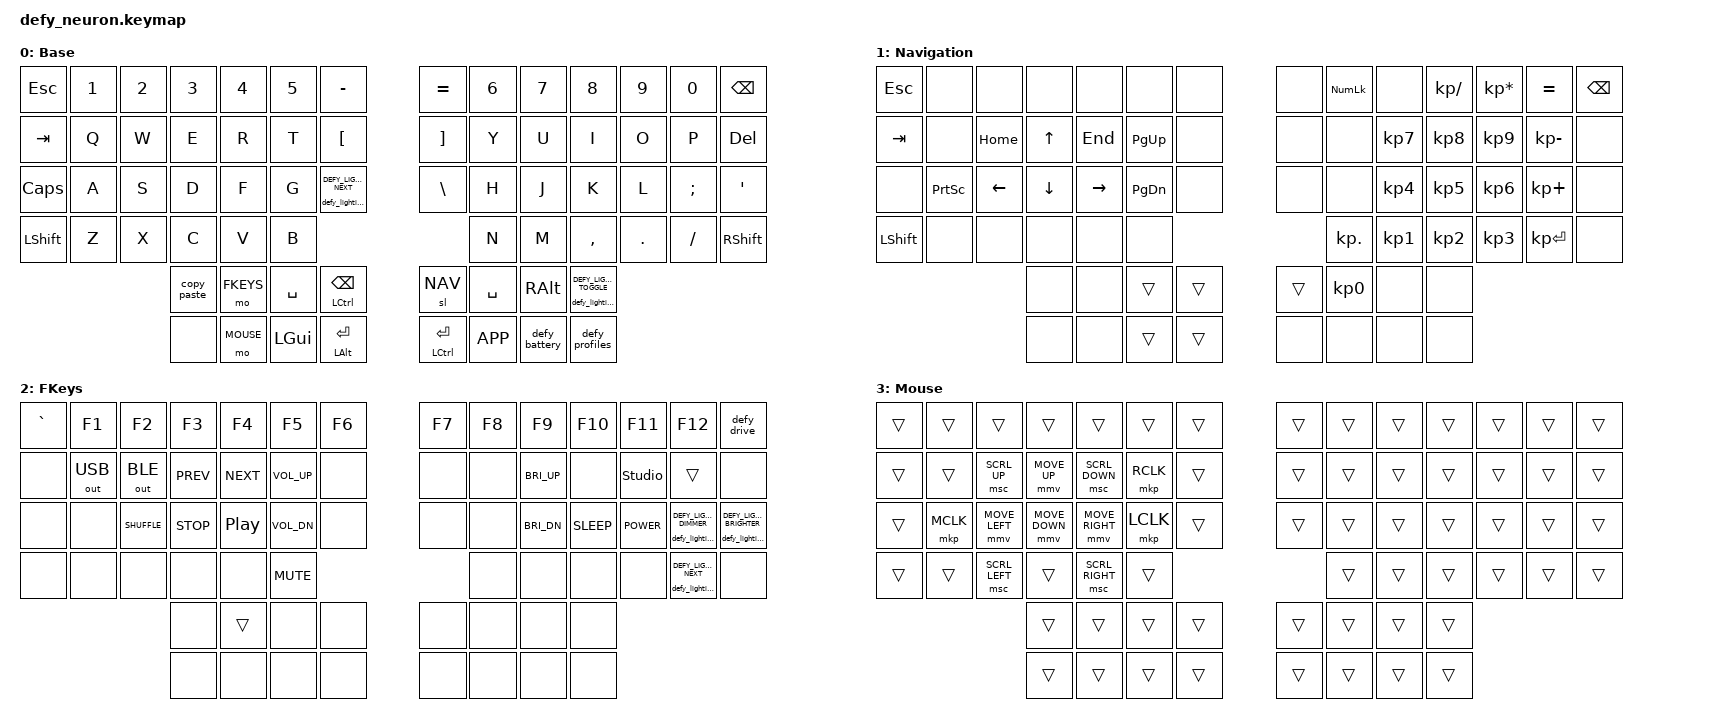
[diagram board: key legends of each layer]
/*
 * The Defy's keymap, on the Neuron. ZMK finds this file by the board's name.
 *
 * Base, Navigation and FKeys follow Dygma's default layout, as Bazecor sets
 * it up, with this port's controls on keys that layout leaves empty. Mouse is
 * new. Each comment marked DEMO shows something to try and change; the rest
 * of ZMK's behaviours are at https://zmk.dev/docs/keymaps.
 *
 * SPDX-License-Identifier: MIT
 */

#include <behaviors.dtsi>
#include <behaviors/defy.dtsi>
#include <dt-bindings/dygma/defy_lighting.h>
#include <dt-bindings/zmk/keys.h>
#include <dt-bindings/zmk/outputs.h>
#include <dt-bindings/zmk/pointing.h>

/* The layers' numbers, for &mo, &sl and the lighting blocks below. */
#define BASE 0
#define NAV 1
#define FKEYS 2
#define MOUSE 3

/*
 * DEMO: a tap-dance with hold-taps, Dygma's copy key on the left upper outer
 * thumb. Tap it for Ctrl+C, hold it for Ctrl+V, tap it twice for Ctrl+X, or
 * tap it and then hold it for Ctrl+Shift+V. On a Mac, change LC to LG for
 * Cmd. The tap-dance hands the first press to copy_hold only once it has
 * waited 200 ms for a second, so copy_hold's own 50 ms make a hold 250 ms in
 * all, as on the second press. https://zmk.dev/docs/keymaps/behaviors/tap-dance
 */
/ {
    behaviors {
        copy_hold: copy_hold {
            compatible = "zmk,behavior-hold-tap";
            #binding-cells = <2>;
            display-name = "Copy key hold";
            tapping-term-ms = <50>;
            flavor = "tap-preferred";
            bindings = <&kp>, <&kp>;
        };

        cut_hold: cut_hold {
            compatible = "zmk,behavior-hold-tap";
            #binding-cells = <2>;
            display-name = "Cut key hold";
            tapping-term-ms = <250>;
            flavor = "tap-preferred";
            bindings = <&kp>, <&kp>;
        };

        copy_paste: copy_paste {
            compatible = "zmk,behavior-tap-dance";
            #binding-cells = <0>;
            display-name = "Copy / paste";
            tapping-term-ms = <200>;
            bindings = <&copy_hold LC(V) LC(C)>, <&cut_hold LC(LS(V)) LC(X)>;
        };
    };
};

/*
 * DEMO: hold-tap timing. The thumb keys that are Ctrl or Alt when held and
 * Backspace or Enter when tapped are &mt, ZMK's mod-tap. Here a key counts
 * as held after 250 ms, as in Dygma's layout, or as soon as another key is
 * pressed and released while it is down. A tap and then a hold repeats the
 * tap, so Backspace can repeat. https://zmk.dev/docs/keymaps/behaviors/hold-tap
 */
&mt {
    tapping-term-ms = <250>;
    flavor = "balanced";
    quick-tap-ms = <200>;
};

/*
 * DEMO: mouse keys, which CONFIG_ZMK_POINTING in defy_neuron.conf turns on.
 * Hold the left lower thumb key second from the outside for Mouse: E, S, D
 * and F move the pointer, W and R scroll up and down, X and V scroll
 * sideways, and G, T and A click left, right and middle. A computer paired
 * over Bluetooth before mouse keys were on must pair again to use them.
 * https://zmk.dev/docs/keymaps/behaviors/mouse-emulation
 *
 * Bluetooth: the right lower outer thumb key opens the profile chooser, to
 * pair, choose and clear up to ten computers. FKeys with Q or W chooses USB or
 * Bluetooth when both are connected. The right lower thumb key second from
 * the outside shows the halves' batteries.
 *
 * DEMO: ZMK Studio changes the keymap on the keyboard, without a build. The
 * left lower outer thumb key does nothing, so that you can bind it there.
 * Unlock Studio with FKeys and O. https://zmk.studio
 */

/*
 * LIGHTING
 *
 * The key right of G shows the next look, and the right upper outer thumb key
 * turns the lighting on and off. Hold FKeys, the left upper thumb key second
 * from the outside, and press ; for dimmer or ' for brighter, in 12 steps
 * from 4 to 255, or / for the next look. The Neuron remembers the look and the
 * brightness.
 *
 * DEMO: the three blocks below set the colours. After an edit, push it and
 * wait for the build, then run defy-installer update, or copy
 * neuron-hybrid.uf2 onto the DEFY drive. The halves need nothing.
 *
 * Colours, at full strength; the brightness scales them:
 *
 *    DEFY_OFF  DEFY_WHITE  DEFY_WARM_WHITE  DEFY_RED  DEFY_ORANGE  DEFY_YELLOW
 *    DEFY_GREEN  DEFY_CYAN  DEFY_BLUE  DEFY_PURPLE  DEFY_PINK
 *    DEFY_RGB(255, 120, 0)    any other colour: red, green and blue, 0 to 255
 *    0xFF7800                 the same colour as a hex number
 *
 * Every LED has a white LED beside its red, green and blue ones. The part of a
 * colour common to all three lights the white one, so DEFY_WHITE lights the
 * white LEDs alone.
 *
 * Which colours show: the highest layer that is on and has colours in block 2
 * or 3 decides. Its single-key colours from block 3 go over its keys colour
 * from block 2. With no such layer on, the look shows. The lighting key turns
 * everything off.
 *
 * 1. Looks: a colour for the keys and one for the underglow. The lighting
 *    starts with the first look, and the next-look keys step through the
 *    rest. A colour left out is off. Without looks here the Neuron has four:
 *    white keys, warm white keys, white keys and underglow, and white
 *    underglow alone. To use your own, remove the // marks:
 */
// &defy_lighting {
//     brightness = <24>;                       /* at first, 1 to 255 */
//     plain { keys = <DEFY_WHITE>; };
//     warm { keys = <DEFY_WARM_WHITE>; underglow = <DEFY_WARM_WHITE>; };
//     night { underglow = <DEFY_PURPLE>; };
// };

/*
 * 2. Layer colours: a layer shows its own key and underglow colours while it
 *    is on. A colour left out comes from the look. Here Navigation, FKeys and
 *    Mouse turn their keys off, so that only the keys block 3 colours light,
 *    and each has an underglow colour of its own.
 */
&defy_layer_lighting {
    navigation { layer = <NAV>; keys = <DEFY_OFF>; underglow = <DEFY_GREEN>; };
    fkeys { layer = <FKEYS>; keys = <DEFY_OFF>; underglow = <DEFY_PURPLE>; };
    mouse { layer = <MOUSE>; keys = <DEFY_OFF>; underglow = <DEFY_BLUE>; };
};

/*
 * 3. Key colours: single keys of a layer in a colour of their own, over the
 *    layer's key colour. Up to 16 groups; a key in two groups takes the later
 *    one's colour.
 *
 *    key-positions numbers the keys as in the first grid: the left half, then
 *    the right, with the thumb keys in the last two rows. The second grid
 *    shows the same keys on the Base layer, where LED is the next look, Cpy
 *    the copy key, FK holds FKeys, Nav is Navigation for one key, Mse holds
 *    Mouse, C/B is Ctrl or Backspace, A/E Alt or Enter, C/E Ctrl or Enter,
 *    AGr right Alt, Lgt the lighting key, Mnu the menu key, Bat the battery
 *    display, BT the profile chooser and Stu the free key, for ZMK Studio.
 *
 *      0   1   2   3   4   5   6      7   8   9  10  11  12  13
 *     14  15  16  17  18  19  20     21  22  23  24  25  26  27
 *     28  29  30  31  32  33  34     35  36  37  38  39  40  41
 *     42  43  44  45  46  47             48  49  50  51  52  53
 *                 54  55  56  57     58  59  60  61
 *                 62  63  64  65     66  67  68  69
 *
 *    Esc   1   2   3   4   5   -      =   6   7   8   9   0 Bks
 *    Tab   Q   W   E   R   T   [      ]   Y   U   I   O   P Del
 *    Cap   A   S   D   F   G LED      \   H   J   K   L   ;   '
 *    Sft   Z   X   C   V   B              N   M   ,   .   / Sft
 *                Cpy  FK Spc C/B    Nav Spc AGr Lgt
 *                Stu Mse Gui A/E    C/E Mnu Bat  BT
 */
&defy_key_lighting {
    nav_keys {
        layer = <NAV>;
        key-positions = <16 17 18 19 29 30 31 32 33>;
        colour = <DEFY_YELLOW>;
    };
    nav_digits {
        layer = <NAV>;
        key-positions = <23 24 25 37 38 39 49 50 51 59>;
        colour = <DEFY_GREEN>;
    };
    nav_operators {
        layer = <NAV>;
        key-positions = <8 10 11 12 26 40 48 52>;
        colour = <DEFY_ORANGE>;
    };
    fkeys_numbers {
        layer = <FKEYS>;
        key-positions = <0 1 2 3 4 5 6 7 8 9 10 11 12>;
        colour = <DEFY_WHITE>;
    };
    fkeys_media {
        layer = <FKEYS>;
        key-positions = <17 18 19 30 31 32 33 47>;
        colour = <DEFY_CYAN>;
    };
    fkeys_system {
        layer = <FKEYS>;
        key-positions = <23 37 38 39>;
        colour = <DEFY_RED>;
    };
    fkeys_defy {
        layer = <FKEYS>;
        key-positions = <13 15 16 25 40 41 52>;
        colour = <DEFY_ORANGE>;
    };
    mouse_move {
        layer = <MOUSE>;
        key-positions = <17 30 31 32>;
        colour = <DEFY_CYAN>;
    };
    mouse_scroll {
        layer = <MOUSE>;
        key-positions = <16 18 44 46>;
        colour = <DEFY_GREEN>;
    };
    mouse_buttons {
        layer = <MOUSE>;
        key-positions = <19 29 33>;
        colour = <DEFY_RED>;
    };
};

/*
 * The layers. Navigation: arrows on E, S, D and F, Home and End on W and R,
 * Page Up and Down on T and G, Print Screen on A, and a numpad on the right
 * with 0 on the right Space. FKeys: grave and F1 to F12 on the number row;
 * media keys on the left; display brightness, sleep and power off on U, J, K
 * and L; and this port's controls: the DEFY drive on Backspace, USB and
 * Bluetooth output on Q and W, Studio's unlock on O, and the lighting on ;, '
 * and /. Sleep and power off use the consumer keys, which some computers
 * ignore.
 */
/ {
    keymap {
        compatible = "zmk,keymap";

        layer_0 {
            display-name = "Base";
            bindings = <
                &kp ESC   &kp N1       &kp N2         &kp N3         &kp N4          &kp N5       &kp MINUS                            &kp EQUAL     &kp N6         &kp N7        &kp N8                              &kp N9          &kp N0                              &kp BSPC
                &kp TAB   &kp Q        &kp W          &kp E          &kp R           &kp T        &kp LBKT                             &kp RBKT      &kp Y          &kp U         &kp I                               &kp O           &kp P                               &kp DEL
                &kp CAPS  &kp A        &kp S          &kp D          &kp F           &kp G        &defy_lighting DEFY_LIGHTING_NEXT    &kp BSLH      &kp H          &kp J         &kp K                               &kp L           &kp SEMI                            &kp SQT
                &kp LSHFT &kp Z        &kp X          &kp C          &kp V           &kp B                                                           &kp N          &kp M         &kp COMMA                           &kp DOT         &kp FSLH                            &kp RSHFT

                                                      &copy_paste    &mo FKEYS       &kp SPACE    &mt LCTRL BSPC                       &sl NAV       &kp SPACE      &kp RALT      &defy_lighting DEFY_LIGHTING_TOGGLE
                                                      &none          &mo MOUSE       &kp LGUI     &mt LALT RET                         &mt LCTRL RET &kp K_APP      &defy_battery &defy_profiles
            >;
        };

        layer_1 {
            display-name = "Navigation";
            bindings = <
                &kp ESC   &none        &none          &none          &none           &none        &none                                &none         &kp KP_NUMLOCK &none         &kp KP_DIVIDE                       &kp KP_MULTIPLY &kp EQUAL                           &kp BSPC
                &kp TAB   &none        &kp HOME       &kp UP         &kp END         &kp PG_UP    &none                                &none         &none          &kp KP_N7     &kp KP_N8                           &kp KP_N9       &kp KP_MINUS                        &none
                &none     &kp PSCRN    &kp LEFT       &kp DOWN       &kp RIGHT       &kp PG_DN    &none                                &none         &none          &kp KP_N4     &kp KP_N5                           &kp KP_N6       &kp KP_PLUS                         &none
                &kp LSHFT &none        &none          &none          &none           &none                                                           &kp KP_DOT     &kp KP_N1     &kp KP_N2                           &kp KP_N3       &kp KP_ENTER                        &none

                                                      &none          &none           &trans       &trans                               &trans        &kp KP_N0      &none         &none
                                                      &none          &none           &trans       &trans                               &none         &none          &none         &none
            >;
        };

        layer_2 {
            display-name = "FKeys";
            bindings = <
                &kp GRAVE &kp F1       &kp F2         &kp F3         &kp F4          &kp F5       &kp F6                               &kp F7        &kp F8         &kp F9        &kp F10                             &kp F11         &kp F12                             &defy_drive
                &none     &out OUT_USB &out OUT_BLE   &kp C_PREV     &kp C_NEXT      &kp C_VOL_UP &none                                &none         &none          &kp C_BRI_UP  &none                               &studio_unlock  &trans                              &none
                &none     &none        &kp C_SHUFFLE  &kp C_STOP     &kp C_PP        &kp C_VOL_DN &none                                &none         &none          &kp C_BRI_DN  &kp C_SLEEP                         &kp C_POWER     &defy_lighting DEFY_LIGHTING_DIMMER &defy_lighting DEFY_LIGHTING_BRIGHTER
                &none     &none        &none          &none          &none           &kp C_MUTE                                                      &none          &none         &none                               &none           &defy_lighting DEFY_LIGHTING_NEXT   &none

                                                      &none          &trans          &none        &none                                &none         &none          &none         &none
                                                      &none          &none           &none        &none                                &none         &none          &none         &none
            >;
        };

        layer_3 {
            display-name = "Mouse";
            bindings = <
                &trans    &trans       &trans         &trans         &trans          &trans       &trans                               &trans        &trans         &trans        &trans                              &trans          &trans                              &trans
                &trans    &trans       &msc SCRL_UP   &mmv MOVE_UP   &msc SCRL_DOWN  &mkp RCLK    &trans                               &trans        &trans         &trans        &trans                              &trans          &trans                              &trans
                &trans    &mkp MCLK    &mmv MOVE_LEFT &mmv MOVE_DOWN &mmv MOVE_RIGHT &mkp LCLK    &trans                               &trans        &trans         &trans        &trans                              &trans          &trans                              &trans
                &trans    &trans       &msc SCRL_LEFT &trans         &msc SCRL_RIGHT &trans                                                          &trans         &trans        &trans                              &trans          &trans                              &trans

                                                      &trans         &trans          &trans       &trans                               &trans        &trans         &trans        &trans
                                                      &trans         &trans          &trans       &trans                               &trans        &trans         &trans        &trans
            >;
        };

        layer_4 { status = "reserved"; };
        layer_5 { status = "reserved"; };
        layer_6 { status = "reserved"; };
        layer_7 { status = "reserved"; };
        layer_8 { status = "reserved"; };
        layer_9 { status = "reserved"; };
    };
};
